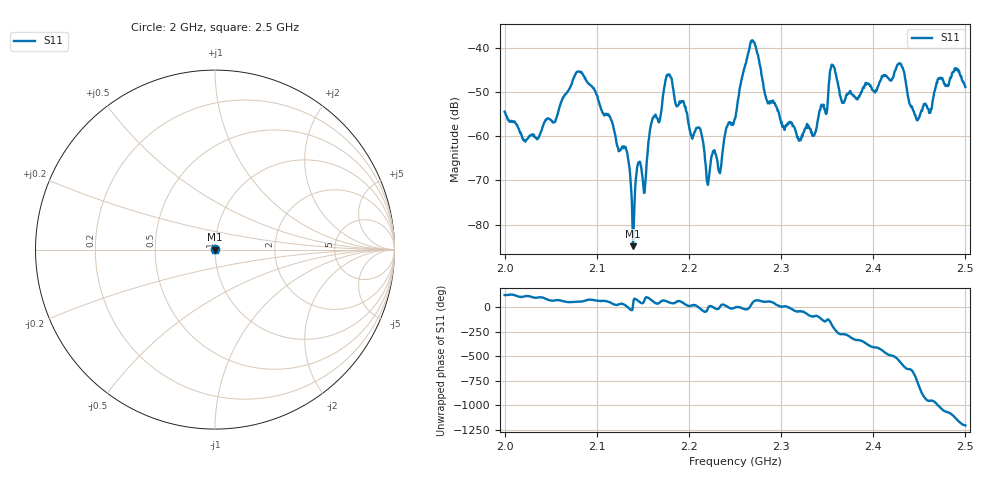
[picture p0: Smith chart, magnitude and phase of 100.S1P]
! C:\Users\rflab\Downloads\dp2_kdzw\100.S1P
! Touchstone 1.1 file saved by VNA.EXE V1.65 (www.ke5fx.com/gpib/readme.htm)
! 12/12/2024 7:17:37 PM
!  Source: HEWLETT PACKARD,8753D,0,6.14
!  Min freq: 2.000000E+009 Hz
!  Max freq: 2.500000E+009 Hz
!  Points: 801
!  Params: S21
# GHZ S MA R 50
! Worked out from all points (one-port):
!   801 points, 2 GHz to 2.5 GHz, reference 50 ohm
!   lowest |S11| = -84.9 dB at 2.139 GHz (marker M1), VSWR 1.00, Z = 50 + j0.0027 ohm
!   |S11| at or under -10 dB: start of sweep to end of sweep
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2  0.001889 125.3
2.035  0.000922 97.9
2.0625  0.002632 65.6
2.083125  0.005349 59.0
2.125  0.00069 33.2
2.1325  0.000681 10.2
2.139375  5.7e-05 28.3
2.145  0.0005 66.0
2.151875  0.00023 77.1
2.159375  0.001417 72.9
2.168125  0.001481 48.7
2.17625  0.004936 58.9
2.1875  0.002185 63.6
2.211875  0.001229 -9.1
2.220625  0.000281 -11.4
2.25  0.001571 -1.8
2.269375  0.01206 50.9
2.285  0.002507 57.4
2.3125  0.0013 -21.2
2.33625  0.00104 -89.6
2.355625  0.006404 171.5
2.36625  0.002381 86.6
2.375  0.003248 56.6
2.428125  0.006674 173.4
2.4375  0.002884 90.6
2.448125  0.001519 -48.6
2.4725  0.004581 57.7
2.5  0.003604 -125.9
